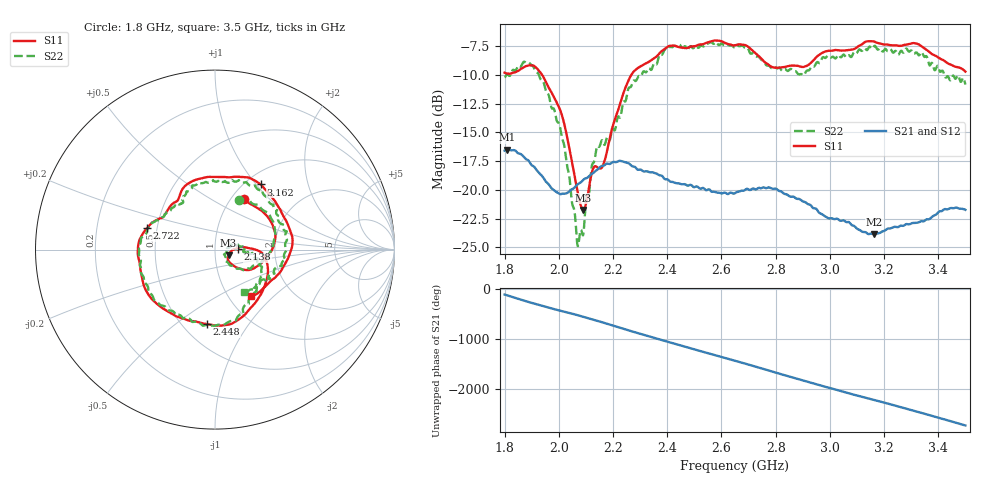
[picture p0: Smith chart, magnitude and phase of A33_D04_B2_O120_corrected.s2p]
! Created with skrf 1.9.0 (http://scikit-rf.org).
# Hz S RI R 50.0
!freq ReS11 ImS11 ReS21 ImS21 ReS12 ImS12 ReS22 ImS22
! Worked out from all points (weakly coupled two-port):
!   1601 points, 1.8 GHz to 3.5 GHz, reference 50 ohm
!   highest |S21| = -16.49 dB at 1.811 GHz (marker M1); lowest = -23.9 dB at 3.164 GHz (marker M2)
!   lowest |S11| = -21.7 dB at 2.09 GHz (marker M3), VSWR 1.18, Z = 58 - j3.69 ohm
!   |S11| at or under -10 dB: 1.939 GHz to 2.267 GHz (328.1 MHz wide, 15.6 % of centre)
!   |S22| runs from -24.9 to -7.1 dB; largest |S21 - S12| = 0.0024
!   S11 on the Smith chart (normalised r, x): 1.8 GHz: 1.14, +0.72; 2.138 GHz: 1.29, +0.01; 2.448 GHz: 0.65, -0.66; 2.722 GHz: 0.44, +0.13; 3.162 GHz: 1.17, +1.06; 3.5 GHz: 1.27, -0.73
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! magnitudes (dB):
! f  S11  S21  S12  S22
! 1.8 GHz  -9.8  -16.6  -16.6  -10.2
! 1.811 GHz  -9.9  -16.5  -16.5  -9.9
! 1.881 GHz  -9.2  -17.4  -17.3  -8.9
! 1.941 GHz  -10.1  -18.9  -18.9  -10.5
! 2.013 GHz  -13.6  -20.3  -20.3  -15.5
! 2.068 GHz  -20.0  -19.5  -19.6  -24.7
! 2.084 GHz  -21.5  -19.3  -19.2  -23.5
! 2.09 GHz  -21.7  -19.1  -19.2  -23.9
! 2.138 GHz  -18.0  -18.3  -18.3  -16.5
! 2.166 GHz  -17.7  -17.9  -17.8  -16.0
! 2.264 GHz  -10.1  -17.8  -17.8  -11.1
! 2.367 GHz  -8.2  -18.7  -18.6  -8.5
! 2.448 GHz  -7.6  -19.5  -19.5  -7.4
! 2.65 GHz  -7.4  -20.3  -20.3  -7.6
! 2.722 GHz  -8.0  -19.9  -19.8  -8.2
! 2.795 GHz  -9.3  -19.9  -19.9  -9.3
! 2.934 GHz  -8.8  -21.5  -21.4  -9.2
! 3.162 GHz  -7.1  -23.9  -23.8  -7.5
! 3.164 GHz  -7.1  -23.9  -23.8  -7.5
! 3.217 GHz  -7.4  -23.4  -23.3  -7.9
! 3.321 GHz  -7.3  -22.9  -22.8  -8.1
! 3.5 GHz  -9.7  -21.7  -21.7  -10.8
